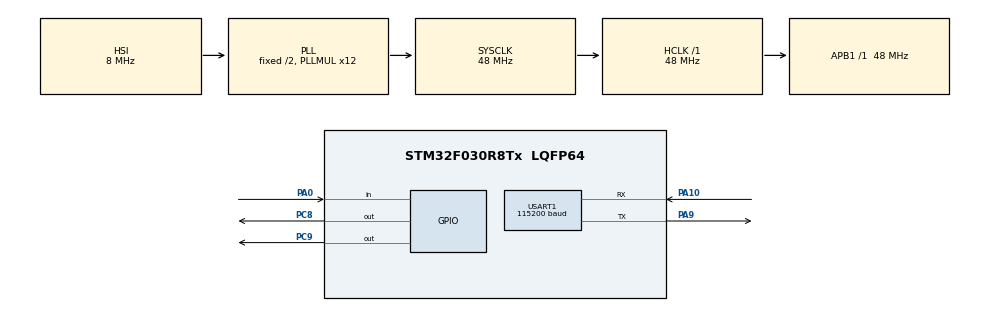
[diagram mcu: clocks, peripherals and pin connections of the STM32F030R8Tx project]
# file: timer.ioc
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Mcu.Family=STM32F0
Mcu.Name=STM32F030R8Tx
Mcu.Package=LQFP64
NVIC.TIM6_IRQn=true\:0\:0\:false\:false\:true\:true\:true
NVIC.USART1_IRQn=true\:0\:0\:false\:false\:true\:true\:true
PA0.Signal=GPIO_Input
PA10.Mode=Asynchronous
PA10.Signal=USART1_RX
PA9.Mode=Asynchronous
PA9.Signal=USART1_TX
PC8.Signal=GPIO_Output
PC9.Signal=GPIO_Output
ProjectManager.HeapSize=0x200
ProjectManager.StackSize=0x400
ProjectManager.TargetToolchain=TrueSTUDIO
RCC.AHBFreq_Value=48000000
RCC.APB1Freq_Value=48000000
RCC.APB1TimFreq_Value=48000000
RCC.HCLKFreq_Value=48000000
RCC.PLLMUL=RCC_PLL_MUL12
RCC.SYSCLKFreq_VALUE=48000000
RCC.SYSCLKSource=RCC_SYSCLKSOURCE_PLLCLK
TIM6.AutoReloadPreload=TIM_AUTORELOAD_PRELOAD_ENABLE
USART1.BaudRate=115200
USART1.VirtualMode-Asynchronous=VM_ASYNC
VP_TIM6_VS_ClockSourceINT.Mode=Enable_Timer
board=32F0308DISCOVERY

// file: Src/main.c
/* USER CODE BEGIN Header */
/**
  ******************************************************************************
  * @file           : main.c
  * @brief          : Main program body
  ******************************************************************************
  * @attention
  *
  * <h2><center>&copy; Copyright (c) 2019 STMicroelectronics.
  * All rights reserved.</center></h2>
  *
  * This software component is licensed by ST under BSD 3-Clause license,
  * the "License"; You may not use this file except in compliance with the
  * License. You may obtain a copy of the License at:
  *                        opensource.org/licenses/BSD-3-Clause
  *
  ******************************************************************************
  */
/* USER CODE END Header */

#include "main.h"

/* USER CODE BEGIN Includes */
#include "cgpio.h"
/* USER CODE END Includes */

/* USER CODE BEGIN PM */
#define ONE_SECOND_IN_MILLISECONDS 100
#define ONE_MINUTE_IN_SECONDS 60
/* USER CODE END PM */

TIM_HandleTypeDef htim6;

UART_HandleTypeDef huart1;

void SystemClock_Config(void);
static void MX_GPIO_Init(void);
static void MX_USART1_UART_Init(void);
static void MX_TIM6_Init(void);

int main(void)
{

  /* MCU Configuration--------------------------------------------------------*/

  /* Reset of all peripherals, Initializes the Flash interface and the Systick. */
  HAL_Init();

  /* Configure the system clock */
  SystemClock_Config();

  /* Initialize all configured peripherals */
  MX_GPIO_Init();
  MX_USART1_UART_Init();
  MX_TIM6_Init();
  /* USER CODE BEGIN 2 */
	uint32_t millis_counter_timer6 = 0 ;
	uint32_t millis_counter_systick = 0 ;
	uint32_t seconds_counter = 0;
	HAL_TIM_Base_Start(&htim6);

  /* USER CODE END 2 */

  /* Infinite loop */
  while (1)
  {

    /* USER CODE BEGIN 3 */
	/*after some time both timer would be shifteft due to polling routines*/
	/*polling mode systick timer */
	if (HAL_GetTick() >= millis_counter_systick  ){
		millis_counter_systick = HAL_GetTick() + ONE_SECOND_IN_MILLISECONDS;
		LED_GREEN_TOGGLE();
		//TODO : add another led
	}
	/*timer6 in polling mode*/
    	if ( __HAL_TIM_GET_FLAG(&htim6,TIM_FLAG_UPDATE) ){
		//LED_GREEN_TOGGLE();
		__HAL_TIM_CLEAR_FLAG(&htim6,TIM_FLAG_UPDATE);
		millis_counter_timer6++;
	}

	if (millis_counter_timer6 >= ONE_SECOND_IN_MILLISECONDS){
		millis_counter_timer6 = 0;
		seconds_counter++;
		LED_RED_TOGGLE();
	}

	if (seconds_counter >= ONE_MINUTE_IN_SECONDS){
		//do something every minute
	}

  /* USER CODE END 3 */
}
}

void SystemClock_Config(void)
{
  RCC_OscInitTypeDef RCC_OscInitStruct = {0};
  RCC_ClkInitTypeDef RCC_ClkInitStruct = {0};
  RCC_PeriphCLKInitTypeDef PeriphClkInit = {0};

  /** Initializes the CPU, AHB and APB busses clocks
  */
  RCC_OscInitStruct.OscillatorType = RCC_OSCILLATORTYPE_HSI;
  RCC_OscInitStruct.HSIState = RCC_HSI_ON;
  RCC_OscInitStruct.HSICalibrationValue = RCC_HSICALIBRATION_DEFAULT;
  RCC_OscInitStruct.PLL.PLLState = RCC_PLL_ON;
  RCC_OscInitStruct.PLL.PLLSource = RCC_PLLSOURCE_HSI;
  RCC_OscInitStruct.PLL.PLLMUL = RCC_PLL_MUL12;
  RCC_OscInitStruct.PLL.PREDIV = RCC_PREDIV_DIV1;
  if (HAL_RCC_OscConfig(&RCC_OscInitStruct) != HAL_OK)
  {
    Error_Handler();
  }
  /** Initializes the CPU, AHB and APB busses clocks
  */
  RCC_ClkInitStruct.ClockType = RCC_CLOCKTYPE_HCLK|RCC_CLOCKTYPE_SYSCLK
                              |RCC_CLOCKTYPE_PCLK1;
  RCC_ClkInitStruct.SYSCLKSource = RCC_SYSCLKSOURCE_PLLCLK;
  RCC_ClkInitStruct.AHBCLKDivider = RCC_SYSCLK_DIV1;
  RCC_ClkInitStruct.APB1CLKDivider = RCC_HCLK_DIV1;

  if (HAL_RCC_ClockConfig(&RCC_ClkInitStruct, FLASH_LATENCY_1) != HAL_OK)
  {
    Error_Handler();
  }
  PeriphClkInit.PeriphClockSelection = RCC_PERIPHCLK_USART1;
  PeriphClkInit.Usart1ClockSelection = RCC_USART1CLKSOURCE_PCLK1;
  if (HAL_RCCEx_PeriphCLKConfig(&PeriphClkInit) != HAL_OK)
  {
    Error_Handler();
  }
}

static void MX_TIM6_Init(void)
{

  htim6.Instance = TIM6;
  htim6.Init.Prescaler = 0;
  htim6.Init.CounterMode = TIM_COUNTERMODE_UP;
  htim6.Init.Period = 48000;
  htim6.Init.AutoReloadPreload = TIM_AUTORELOAD_PRELOAD_ENABLE;
  if (HAL_TIM_Base_Init(&htim6) != HAL_OK)
  {
    Error_Handler();
  }
  /* USER CODE BEGIN TIM6_Init 2 */

   //TIM_Base_SetConfig(&(htim6.Instance), &(htim6.Init));
  /* USER CODE END TIM6_Init 2 */

}

static void MX_USART1_UART_Init(void)
{

  huart1.Instance = USART1;
  huart1.Init.BaudRate = 115200;
  huart1.Init.WordLength = UART_WORDLENGTH_8B;
  huart1.Init.StopBits = UART_STOPBITS_1;
  huart1.Init.Parity = UART_PARITY_NONE;
  huart1.Init.Mode = UART_MODE_TX_RX;
  huart1.Init.HwFlowCtl = UART_HWCONTROL_NONE;
  huart1.Init.OverSampling = UART_OVERSAMPLING_16;
  huart1.Init.OneBitSampling = UART_ONE_BIT_SAMPLE_DISABLE;
  huart1.AdvancedInit.AdvFeatureInit = UART_ADVFEATURE_NO_INIT;
  if (HAL_UART_Init(&huart1) != HAL_OK)
  {
    Error_Handler();
  }

}

static void MX_GPIO_Init(void)
{
  GPIO_InitTypeDef GPIO_InitStruct = {0};

  /* GPIO Ports Clock Enable */
  __HAL_RCC_GPIOA_CLK_ENABLE();
  __HAL_RCC_GPIOC_CLK_ENABLE();

  /*Configure GPIO pin Output Level */
  HAL_GPIO_WritePin(GPIOC, GPIO_PIN_8|GPIO_PIN_9, GPIO_PIN_RESET);

  /*Configure GPIO pin : PA0 */
  GPIO_InitStruct.Pin = GPIO_PIN_0;
  GPIO_InitStruct.Mode = GPIO_MODE_INPUT;
  GPIO_InitStruct.Pull = GPIO_NOPULL;
  HAL_GPIO_Init(GPIOA, &GPIO_InitStruct);

  /*Configure GPIO pins : PC8 PC9 */
  GPIO_InitStruct.Pin = GPIO_PIN_8|GPIO_PIN_9;
  GPIO_InitStruct.Mode = GPIO_MODE_OUTPUT_PP;
  GPIO_InitStruct.Pull = GPIO_NOPULL;
  GPIO_InitStruct.Speed = GPIO_SPEED_FREQ_LOW;
  HAL_GPIO_Init(GPIOC, &GPIO_InitStruct);

}

void Error_Handler(void)
{
}

/************************ (C) COPYRIGHT STMicroelectronics *****END OF FILE****/
